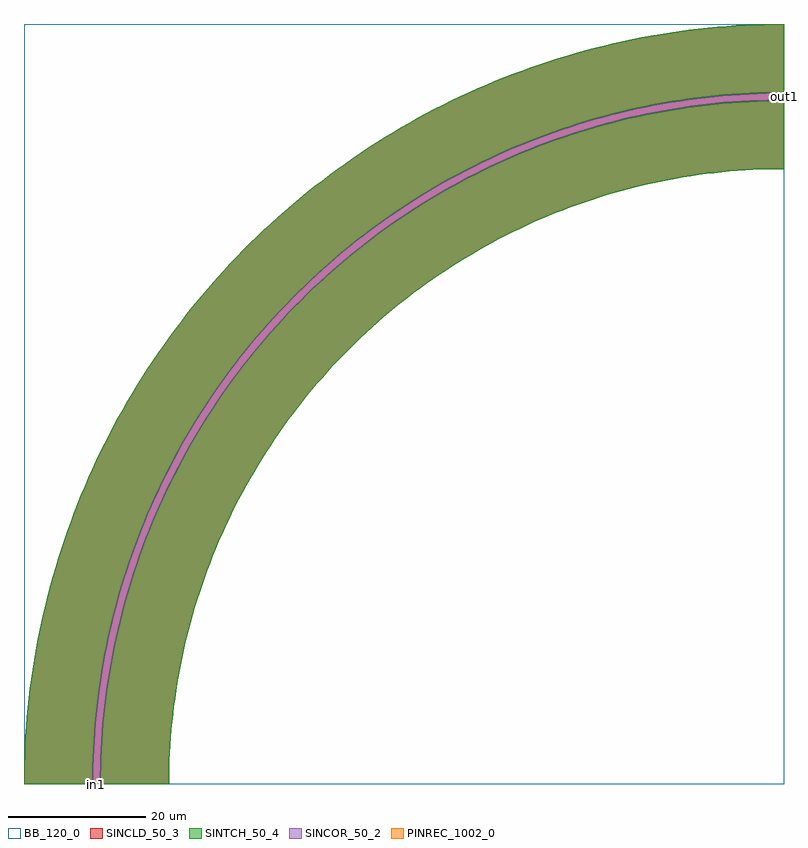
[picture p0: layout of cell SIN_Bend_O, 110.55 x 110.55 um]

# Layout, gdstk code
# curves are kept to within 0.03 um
import gdstk
lib = gdstk.Library(unit=1e-6, precision=1e-09)
def R(c, l, rs):  # rectangles x0, y0, x1, y1
    for r in rs: c.add(gdstk.rectangle(r[:2], r[2:], *l))
def P(c, l, *ps):  # polygons
    for p in ps: c.add(gdstk.Polygon(p, *l))
SINCOR_50_2 = (50, 2)
SINCLD_50_3 = (50, 3)
SINTCH_50_4 = (50, 4)
BB_120_0 = (120, 0)
PINREC_1002_0 = (1002, 0)

sin_bend_o = lib.new_cell('SIN_Bend_O')
P(sin_bend_o, SINCOR_50_2, [(110.549,100.549),(106.759,100.479),(104.235,100.352),(101.716,100.161),(99.202,99.908),(96.694,99.591),(94.196,99.211),(91.708,98.769),(89.231,98.264),(86.769,97.697),(84.321,97.069),(81.89,96.379),(79.477,95.629),(77.084,94.818),(74.712,93.947),(72.362,93.016),(70.036,92.027),(67.736,90.98),(65.463,89.875),(63.219,88.714),(61.004,87.497),(58.821,86.224),(56.671,84.897),(54.555,83.516),(51.447,81.347),(49.422,79.836),(47.435,78.275),(45.489,76.664),(43.582,75.005),(41.718,73.298),(39.897,71.545),(38.122,69.747),(36.392,67.904),(34.709,66.019),(33.073,64.092),(31.487,62.125),(29.951,60.119),(28.466,58.074),(27.032,55.993),(25.651,53.876),(24.324,51.726),(23.051,49.543),(21.834,47.328),(20.672,45.083),(19.568,42.81),(18.52,40.51),(17.531,38.184),(16.601,35.834),(15.73,33.462),(14.919,31.069),(14.169,28.656),(13.479,26.225),(12.851,23.777),(12.284,21.315),(11.779,18.838),(11.337,16.35),(10.958,13.852),(10.506,10.089),(10.284,7.572),(10.126,5.049),(10.031,2.524),(10,0),(11.1,0),(11.131,2.52),(11.298,6.296),(11.49,8.809),(11.745,11.315),(12.063,13.815),(12.659,17.546),(13.135,20.021),(13.674,22.482),(14.598,26.147),(15.291,28.569),(16.045,30.973),(16.86,33.357),(17.735,35.72),(19.16,39.221),(20.716,42.665),(21.826,44.928),(22.992,47.161),(24.215,49.364),(25.494,51.536),(26.827,53.674),(28.213,55.777),(29.653,57.845),(31.144,59.876),(32.686,61.868),(34.278,63.82),(35.919,65.732),(37.608,67.602),(40.23,70.324),(42.952,72.945),(44.822,74.634),(46.734,76.276),(48.687,77.868),(50.679,79.41),(52.71,80.901),(54.778,82.34),(56.881,83.726),(59.019,85.059),(61.191,86.337),(63.394,87.56),(65.627,88.726),(67.889,89.836),(71.334,91.392),(74.835,92.816),(77.198,93.691),(79.582,94.506),(81.987,95.26),(84.409,95.953),(88.074,96.877),(91.771,97.661),(94.251,98.106),(96.741,98.487),(99.241,98.805),(101.748,99.06),(105.519,99.323),(108.037,99.418),(110.549,99.449)])
P(sin_bend_o, SINCLD_50_3, [(21.107,1.144),(21.278,5.663),(21.558,9.051),(21.966,12.421),(22.502,15.783),(23.414,20.218),(24.244,23.509),(25.202,26.78),(26.278,29.995),(27.482,33.184),(29.269,37.348),(31.266,41.419),(32.9,44.406),(34.638,47.315),(37.133,51.102),(39.131,53.858),(41.225,56.528),(44.178,59.968),(46.504,62.447),(48.11,64.052),(51.432,67.13),(54.911,70.041),(56.697,71.423),(59.452,73.42),(63.241,75.915),(65.172,77.086),(68.136,78.756),(72.176,80.802),(76.319,82.641),(80.56,84.273),(83.77,85.348),(85.937,85.997),(90.339,87.137),(92.548,87.62),(95.887,88.241),(100.377,88.87),(102.634,89.099),(106.018,89.335),(110.549,89.449),(110.549,110.549),(106.387,110.472),(103.605,110.332),(100.846,110.123),(98.079,109.845),(95.32,109.496),(92.575,109.079),(89.831,108.592),(85.76,107.736),(83.064,107.079),(80.374,106.353),(77.711,105.561),(73.754,104.248),(71.139,103.287),(68.561,102.266),(66.01,101.181),(63.482,100.03),(59.744,98.185),(57.293,96.877),(54.866,95.503),(52.495,94.08),(50.143,92.587),(46.696,90.245),(44.453,88.616),(42.243,86.923),(40.078,85.178),(37.965,83.385),(34.869,80.585),(32.871,78.661),(30.913,76.678),(29.02,74.661),(27.161,72.579),(25.365,70.463),(22.77,67.202),(20.305,63.854),(17.958,60.4),(15.747,56.868),(13.671,53.254),(11.731,49.562),(10.517,47.064),(9.365,44.534),(7.759,40.688),(6.3,36.791),(5.406,34.152),(4.585,31.51),(3.469,27.482),(2.512,23.439),(1.705,19.347),(1.053,15.226),(0.556,11.095),(0.216,6.93),(0.077,4.158),(0,0),(21.1,0)])
P(sin_bend_o, SINTCH_50_4, [(10,0),(10.07,3.787),(10.197,6.311),(10.388,8.831),(10.641,11.345),(10.958,13.852),(11.55,17.595),(12.024,20.078),(12.56,22.548),(13.157,25.003),(13.816,27.443),(14.919,31.069),(15.73,33.462),(16.601,35.834),(17.531,38.184),(18.52,40.51),(19.568,42.81),(20.672,45.083),(21.834,47.328),(23.051,49.543),(24.981,52.805),(26.335,54.939),(27.742,57.038),(29.951,60.119),(31.487,62.125),(33.073,64.092),(34.709,66.019),(36.392,67.904),(38.122,69.747),(39.897,71.545),(41.718,73.298),(43.582,75.005),(45.489,76.664),(47.435,78.275),(49.422,79.836),(51.447,81.347),(53.51,82.806),(56.671,84.897),(58.821,86.224),(61.004,87.497),(63.219,88.714),(65.463,89.875),(67.736,90.98),(70.036,92.027),(72.362,93.016),(74.712,93.947),(77.084,94.818),(79.477,95.629),(81.89,96.379),(84.321,97.069),(86.769,97.697),(89.231,98.264),(91.708,98.769),(94.196,99.211),(96.694,99.591),(99.202,99.908),(101.716,100.161),(104.235,100.352),(106.759,100.479),(110.549,100.549),(110.549,110.549),(106.387,110.472),(103.605,110.332),(100.846,110.123),(98.079,109.845),(95.32,109.496),(92.575,109.079),(89.831,108.592),(87.105,108.036),(84.399,107.412),(81.711,106.723),(79.036,105.963),(76.391,105.141),(73.754,104.248),(71.139,103.287),(68.561,102.266),(66.01,101.181),(63.482,100.03),(60.981,98.815),(58.505,97.533),(56.078,96.2),(53.678,94.801),(51.312,93.34),(47.842,91.045),(45.567,89.436),(43.347,87.779),(41.159,86.06),(39.019,84.289),(36.924,82.467),(34.869,80.585),(32.871,78.661),(30.913,76.678),(29.02,74.661),(26.264,71.536),(24.493,69.395),(21.932,66.094),(20.305,63.854),(18.729,61.566),(16.468,58.052),(14.348,54.468),(13.012,52.038),(11.731,49.562),(10.517,47.064),(9.365,44.534),(7.759,40.688),(6.769,38.094),(5.406,34.152),(4.195,30.172),(3.469,27.482),(2.512,23.439),(1.956,20.715),(1.468,17.966),(0.871,13.856),(0.556,11.095),(0.216,6.93),(0.077,4.158),(0,0)],
  [(109.297,99.442),(106.778,99.378),(104.261,99.251),(101.748,99.06),(99.241,98.805),(96.741,98.487),(94.251,98.106),(91.771,97.661),(89.303,97.154),(85.627,96.277),(83.196,95.614),(80.782,94.891),(78.387,94.106),(76.014,93.261),(73.662,92.356),(71.334,91.392),(69.031,90.369),(66.755,89.288),(64.507,88.15),(62.289,86.955),(60.101,85.705),(57.946,84.399),(55.825,83.04),(53.739,81.627),(50.679,79.41),(48.687,77.868),(46.734,76.276),(44.822,74.634),(42.952,72.945),(41.126,71.209),(39.344,69.428),(37.608,67.602),(35.919,65.732),(34.278,63.82),(32.686,61.868),(30.392,58.865),(28.926,56.816),(27.513,54.73),(26.154,52.609),(24.848,50.454),(23.597,48.266),(22.402,46.048),(21.264,43.8),(20.183,41.524),(19.16,39.221),(18.195,36.893),(17.29,34.541),(16.445,32.168),(15.291,28.569),(14.598,26.147),(13.966,23.707),(13.397,21.253),(12.889,18.785),(12.445,16.305),(12.063,13.815),(11.609,10.063),(11.386,7.553),(11.227,5.038),(11.131,2.52),(11.1,0),(21.1,0),(21.214,4.533),(21.558,9.051),(22.13,13.542),(22.709,16.894),(23.679,21.328),(24.554,24.619),(25.909,28.937),(27.482,33.184),(29.269,37.348),(31.266,41.419),(33.462,45.374),(35.863,49.227),(37.783,52.023),(40.513,55.644),(43.424,59.123),(46.504,62.447),(48.923,64.834),(52.287,67.874),(55.799,70.737),(59.452,73.42),(63.241,75.915),(67.145,78.213),(71.164,80.312),(75.277,82.202),(79.482,83.881),(83.77,85.348),(88.131,86.596),(92.548,87.62),(97.011,88.419),(101.511,88.992),(106.018,89.335),(110.549,89.449),(110.549,99.449)])
R(sin_bend_o, BB_120_0, [(0,0,110.549,110.549)])
R(sin_bend_o, PINREC_1002_0, [(10,0,11.1,0.5), (110.049,99.449,110.549,100.549)])
sin_bend_o.add(gdstk.Label('out1', (110.549,99.999), layer=1000, texttype=0))
sin_bend_o.add(gdstk.Label('in1', (10.513,0), layer=1000, texttype=0))

lib.write_gds('SIN_Bend_O.gds')
